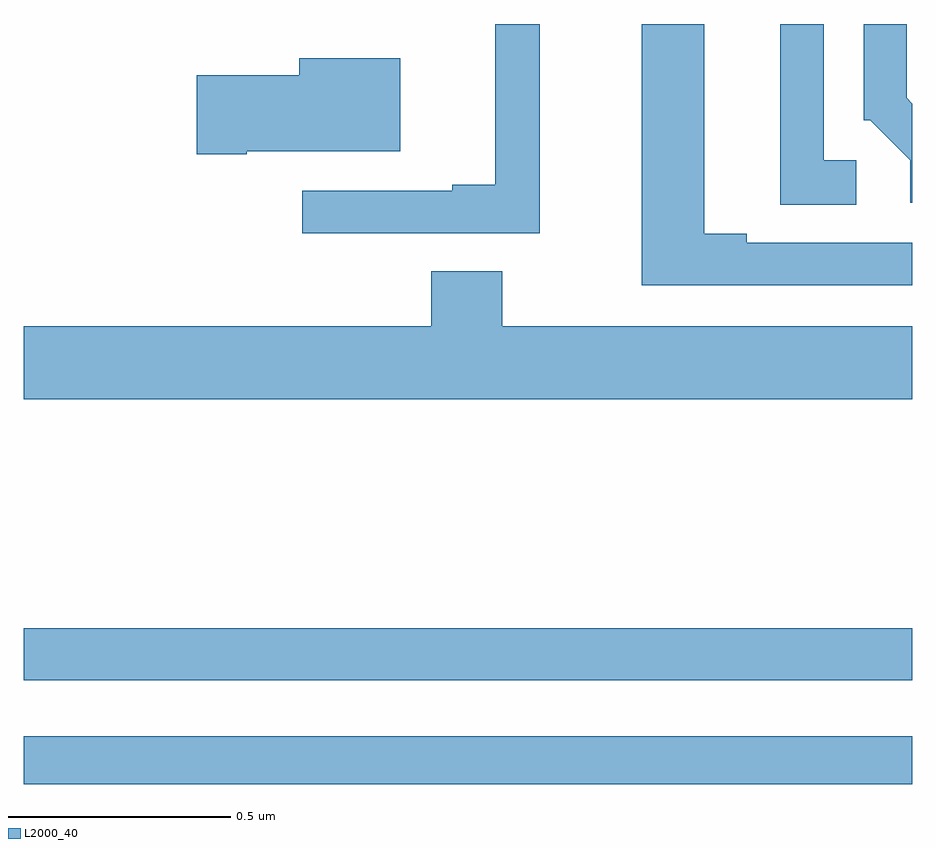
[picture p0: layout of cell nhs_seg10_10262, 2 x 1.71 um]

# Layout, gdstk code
import gdstk
lib = gdstk.Library(unit=1e-6, precision=1e-09)
def R(c, l, rs):  # rectangles x0, y0, x1, y1
    for r in rs: c.add(gdstk.rectangle(r[:2], r[2:], *l))
def P(c, l, *ps):  # polygons
    for p in ps: c.add(gdstk.Polygon(p, *l))
L2000_40 = (2000, 40)

nhs_seg10_10262 = lib.new_cell('nhs_seg10_10262')
R(nhs_seg10_10262, L2000_40, [(240,1292.79,242,1292.898), (240,1293.024,242,1293.14)])
P(nhs_seg10_10262, L2000_40, [(241.161,1294.5),(241.061,1294.5),(241.061,1294.138),(240.965,1294.138),(240.965,1294.125),(240.627,1294.125),(240.627,1294.029),(241.161,1294.029)],
  [(241.873,1294.194),(241.8,1294.194),(241.8,1294.5),(241.703,1294.5),(241.703,1294.093),(241.873,1294.093)],
  [(242,1294.008),(241.627,1294.008),(241.627,1294.028),(241.531,1294.028),(241.531,1294.5),(241.391,1294.5),(241.391,1293.912),(242,1293.912)],
  [(242,1294.321),(241.987,1294.334),(241.987,1294.5),(241.89,1294.5),(241.89,1294.284),(241.905,1294.284),(241.995,1294.194),(241.995,1294.098),(242,1294.098)],
  [(240.502,1294.214),(240.847,1294.214),(240.847,1294.423),(240.62,1294.423),(240.62,1294.385),(240.39,1294.385),(240.39,1294.207),(240.502,1294.207)],
  [(242,1293.82),(241.077,1293.82),(241.077,1293.944),(240.917,1293.944),(240.917,1293.82),(240,1293.82),(240,1293.656),(242,1293.656)])

lib.write_gds('nhs_seg10_10262.gds')
